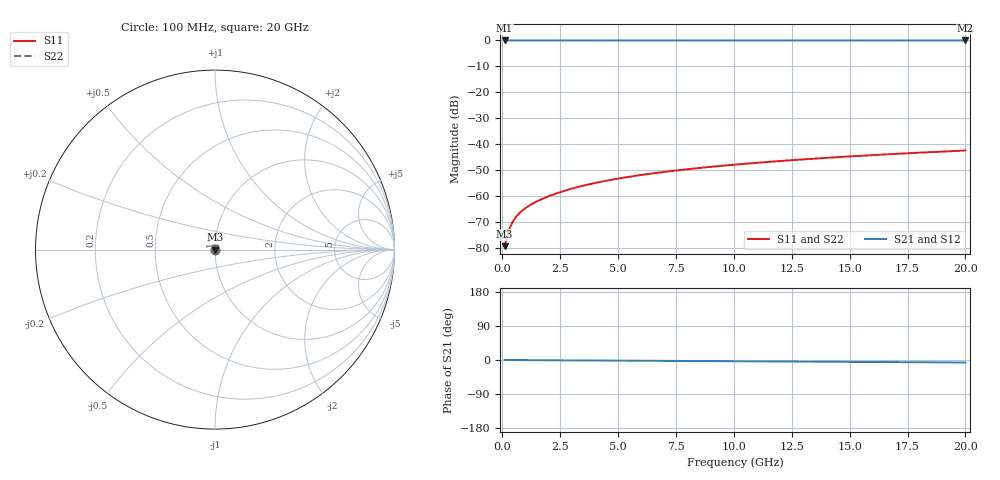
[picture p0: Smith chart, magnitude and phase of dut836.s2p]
! Touchstone file exported from HFSS 2026.1.0
!  File:  C:/ffzhzh/LocalFiles/Ansys_Project_Files/temp_train_TSV_836_1783184823_43440.aedt
!  Generated:  01:08:19 AM Jul  5, 2026
!  Design:  TSV
!  Project:  temp_train_TSV_836_1783184823_43440
! Variables:
!  h_bsmrdl = 2um
!  h_ox = 20um
!  h_rdl = 5um
!  h_sub = 61.85um
!  h_tmrdl = 5um
!  h_tsv = 61.85um
!  h_via = 3um
!  l_bsmrdl = 300um
!  l_sub = 423.5um
!  l_tmrdl = 200um
!  m_sub = 200um
!  pitch = 50.05um
!  r_tsv = 11.75um
!  s_tmrdl = 10um
!  w_bsmrdl = 18um
!  w_sub = 500um
!  w_tmrdl = 12um
!  x_tsv_center1 = 206um
!  x_tsv_center2 = 524um
!  x_tsv_center3 = 736um
!  x_tsv_center4 = 1054um
!  x_tsv_center5 = 1266um
!  x_tsv_center6 = 1584um
# GHz S MA R 50.000000
! Terminal data exported
! Port[1] = TSV1_1_T1
! Port[2] = TSV1_1_T2
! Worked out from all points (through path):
!   200 points, 100 MHz to 20 GHz, reference 50 ohm
!   highest |S21| = 0.00 dB at 100 MHz (marker M1); lowest = 0.0 dB at 20 GHz (marker M2)
!   lowest |S11| = -79.2 dB at 100 MHz (marker M3), VSWR 1.00, Z = 50 + j0.00708 ohm
!   |S11| at or under -10 dB: start of sweep to end of sweep
!   |S22| runs from -79.2 to -42.4 dB; largest |S21 - S12| = 6.2e-15
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0.1  0.0001091 40.4  0.9999 -0.0  0.9999 -0.0  0.0001091 40.4
! Gamma 0 0 0 0
! Port Impedance 50 0 50 0
0.2  0.0001673 56.3  0.9999 -0.1  0.9999 -0.1  0.0001673 56.3
0.3  0.0002301 62.2  0.9999 -0.1  0.9999 -0.1  0.0002301 62.2
0.4  0.000291 64.6  0.9999 -0.1  0.9999 -0.1  0.000291 64.6
0.5  0.0003485 65.7  0.9999 -0.2  0.9999 -0.2  0.0003485 65.7
0.6  0.0004022 66.3  0.9998 -0.2  0.9998 -0.2  0.0004022 66.3
0.7  0.0004526 66.7  0.9998 -0.2  0.9998 -0.2  0.0004526 66.7
0.9  0.0005457 67.4  0.9998 -0.3  0.9998 -0.3  0.0005457 67.4
1.1  0.0006322 68.2  0.9998 -0.4  0.9998 -0.4  0.0006322 68.2
1.3  0.0007154 69.0  0.9997 -0.4  0.9997 -0.4  0.0007154 69.0
1.6  0.0008374 70.3  0.9997 -0.5  0.9997 -0.5  0.0008374 70.3
1.9  0.0009583 71.4  0.9997 -0.6  0.9997 -0.6  0.0009583 71.4
2.6  0.00124 73.4  0.9997 -0.9  0.9997 -0.9  0.00124 73.4
3.5  0.001599 75.0  0.9996 -1.2  0.9996 -1.2  0.001599 75.0
4.2  0.001875 75.7  0.9996 -1.4  0.9996 -1.4  0.001875 75.7
5  0.002185 76.2  0.9995 -1.7  0.9995 -1.7  0.002185 76.2
6.8  0.002866 76.9  0.9995 -2.2  0.9995 -2.2  0.002866 76.9
8.3  0.003422 77.2  0.9994 -2.7  0.9994 -2.7  0.003422 77.2
10.1  0.004079 77.4  0.9993 -3.3  0.9993 -3.3  0.004079 77.4
13.4  0.005268 77.4  0.9992 -4.4  0.9992 -4.4  0.005268 77.4
16.7  0.006438 77.0  0.9991 -5.5  0.9991 -5.5  0.006438 77.0
20  0.007585 76.4  0.999 -6.6  0.999 -6.6  0.007586 76.4
